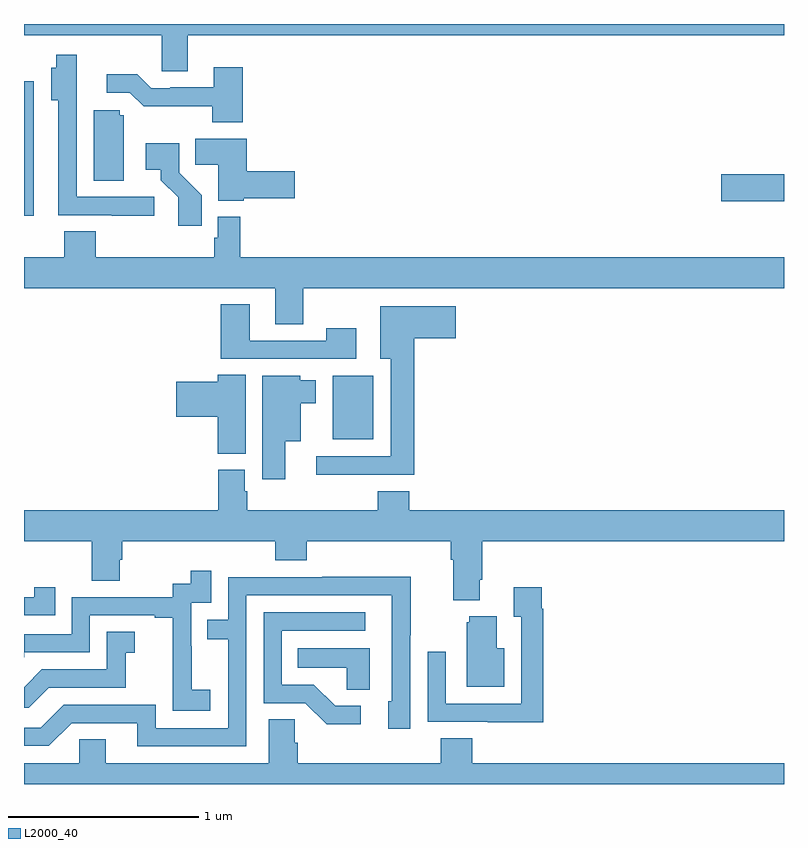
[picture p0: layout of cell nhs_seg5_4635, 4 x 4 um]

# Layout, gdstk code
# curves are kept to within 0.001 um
import gdstk
lib = gdstk.Library(unit=1e-6, precision=1e-09)
def R(c, l, rs):  # rectangles x0, y0, x1, y1
    for r in rs: c.add(gdstk.rectangle(r[:2], r[2:], *l))
def P(c, l, *ps):  # polygons
    for p in ps: c.add(gdstk.Polygon(p, *l))
L2000_40 = (2000, 40)

nhs_seg5_4635 = lib.new_cell('nhs_seg5_4635')
R(nhs_seg5_4635, L2000_40, [(384.626,874.613,384.838,874.948), (383,875.789,383.05,876.499), (386.67,875.866,387,876.008)])
P(nhs_seg5_4635, L2000_40, [(383.863,876.74),(387,876.74),(387,876.799),(383,876.799),(383,876.74),(383.724,876.74),(383.724,876.55),(383.863,876.55)],
  [(383.686,875.889),(383.277,875.889),(383.277,876.414),(383.278,876.414),(383.278,876.637),(383.169,876.637),(383.169,876.568),(383.144,876.568),(383.144,876.398),(383.18,876.398),(383.18,875.793),(383.461,875.793),(383.461,875.791),(383.686,875.791)],
  [(384.152,876.571),(383.999,876.571),(383.999,876.465),(383.77,876.465),(383.77,876.462),(383.67,876.462),(383.597,876.535),(383.436,876.535),(383.436,876.438),(383.556,876.438),(383.629,876.365),(383.992,876.366),(383.992,876.281),(384.152,876.281)],
  [(383.524,876.318),(383.505,876.318),(383.505,876.345),(383.366,876.345),(383.366,875.974),(383.524,875.974)],
  [(384.156,875.881),(384.424,875.881),(384.424,876.023),(384.173,876.023),(384.173,876.196),(383.902,876.196),(383.902,876.058),(384.023,876.058),(384.023,875.87),(384.156,875.87)],
  [(383.936,875.898),(383.817,876.017),(383.817,876.172),(383.64,876.172),(383.64,876.032),(383.72,876.032),(383.72,875.977),(383.811,875.887),(383.811,875.736),(383.936,875.736)],
  [(384.471,875.408),(387,875.408),(387,875.572),(384.137,875.572),(384.137,875.785),(384.021,875.785),(384.021,875.673),(384.001,875.673),(384.001,875.572),(383.378,875.572),(383.378,875.708),(383.213,875.708),(383.213,875.572),(383,875.572),(383,875.408),(384.323,875.408),(384.323,875.218),(384.471,875.218)],
  [(384.748,875.197),(384.592,875.197),(384.592,875.133),(384.187,875.133),(384.187,875.323),(384.035,875.323),(384.035,875.037),(384.748,875.037)],
  [(385.055,875.144),(385.273,875.144),(385.273,875.314),(384.875,875.314),(384.875,875.036),(384.929,875.036),(384.929,874.524),(384.537,874.524),(384.537,874.427),(385.055,874.427)],
  [(384.166,874.952),(384.02,874.952),(384.02,874.916),(383.802,874.916),(383.802,874.733),(384.02,874.733),(384.02,874.537),(384.166,874.537)],
  [(384.376,874.604),(384.457,874.604),(384.457,874.802),(384.535,874.802),(384.535,874.924),(384.453,874.924),(384.453,874.948),(384.254,874.948),(384.254,874.404),(384.376,874.404)],
  [(385.399,873.874),(385.412,873.874),(385.412,874.076),(387,874.076),(387,874.24),(385.028,874.24),(385.028,874.339),(384.863,874.339),(384.863,874.24),(384.176,874.24),(384.176,874.341),(384.163,874.341),(384.163,874.452),(384.023,874.452),(384.023,874.24),(383,874.24),(383,874.076),(383.356,874.076),(383.356,873.868),(383.503,873.868),(383.503,873.978),(383.516,873.978),(383.516,874.076),(384.323,874.076),(384.323,873.977),(384.488,873.977),(384.488,874.076),(385.247,874.076),(385.247,873.98),(385.259,873.98),(385.259,873.767),(385.399,873.767)],
  [(383.98,873.295),(383.882,873.295),(383.882,873.524),(383.88,873.524),(383.88,873.753),(383.985,873.753),(383.985,873.922),(383.877,873.922),(383.877,873.852),(383.784,873.852),(383.784,873.783),(383.25,873.783),(383.25,873.588),(383,873.588),(383,873.465),(383.001,873.465),(383.001,873.492),(383.346,873.492),(383.346,873.687),(383.687,873.687),(383.687,873.675),(383.783,873.675),(383.783,873.391),(383.782,873.391),(383.782,873.185),(383.98,873.185)],
  [(384.171,873.792),(384.936,873.792),(384.936,873.234),(384.917,873.234),(384.917,873.09),(385.032,873.09),(385.032,873.583),(385.035,873.583),(385.035,873.89),(384.571,873.89),(384.571,873.888),(384.075,873.888),(384.075,873.663),(383.965,873.663),(383.965,873.562),(384.075,873.562),(384.075,873.093),(383.694,873.093),(383.694,873.216),(383.208,873.216),(383.088,873.096),(383,873.096),(383,873),(383.13,873),(383.25,873.12),(383.597,873.12),(383.597,872.997),(384.171,872.997)],
  [(383.165,873.835),(383.054,873.835),(383.054,873.783),(383,873.783),(383,873.687),(383.165,873.687)],
  [(385.733,873.722),(385.726,873.722),(385.726,873.835),(385.577,873.835),(385.577,873.679),(385.617,873.679),(385.617,873.222),(385.221,873.222),(385.221,873.496),(385.125,873.496),(385.125,873.126),(385.441,873.126),(385.441,873.125),(385.733,873.125)],
  [(384.772,873.21),(384.637,873.21),(384.526,873.321),(384.357,873.321),(384.357,873.606),(384.796,873.606),(384.796,873.702),(384.261,873.702),(384.261,873.225),(384.48,873.225),(384.593,873.113),(384.772,873.113)],
  [(385.528,873.514),(385.489,873.514),(385.489,873.682),(385.343,873.682),(385.343,873.651),(385.331,873.651),(385.331,873.311),(385.528,873.311)],
  [(383.131,873.306),(383.535,873.306),(383.535,873.491),(383.584,873.491),(383.584,873.601),(383.436,873.601),(383.436,873.402),(383.094,873.402),(383,873.308),(383,873.201),(383.026,873.201)],
  [(384.82,873.514),(384.442,873.514),(384.442,873.41),(384.699,873.41),(384.699,873.295),(384.82,873.295)],
  [(387,872.908),(385.358,872.908),(385.358,873.041),(385.193,873.041),(385.193,872.908),(384.44,872.908),(384.44,873.017),(384.426,873.017),(384.426,873.14),(384.287,873.14),(384.287,872.908),(383.431,872.908),(383.431,873.035),(383.292,873.035),(383.292,872.908),(383,872.908),(383,872.799),(387,872.799)])

lib.write_gds('nhs_seg5_4635.gds')
